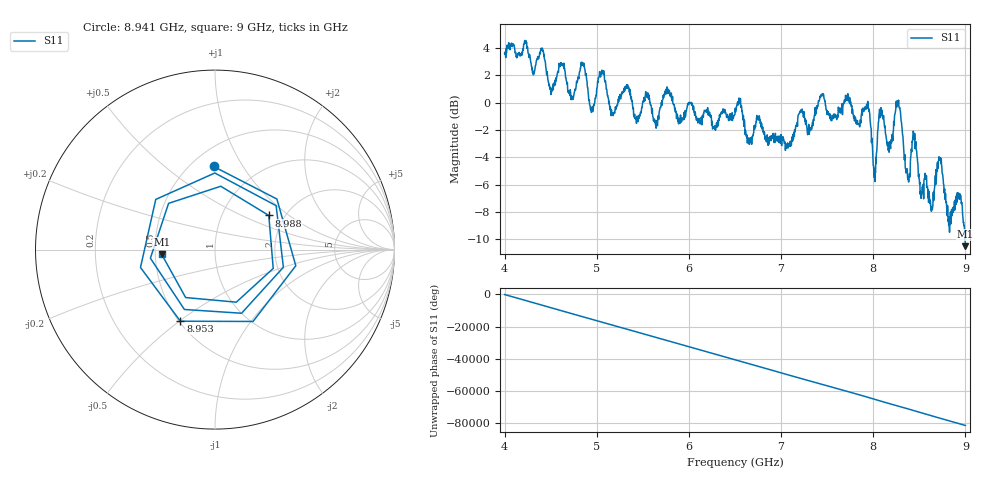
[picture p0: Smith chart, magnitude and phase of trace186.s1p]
! Created with skrf 1.8.0 (http://scikit-rf.org).
# Hz S RI R 50.0
!freq ReS11 ImS11
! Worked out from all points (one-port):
!   1601 points, 4 GHz to 9 GHz, reference 50 ohm
!   lowest |S11| = -10.5 dB at 9 GHz (marker M1), VSWR 1.85, Z = 27.1 - j1.58 ohm
!   |S11| at or under -10 dB: 8.993976 GHz to end of sweep
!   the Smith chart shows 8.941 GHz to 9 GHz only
!   S11 on the Smith chart (normalised r, x): 8.941 GHz: 0.64, +0.75; 8.953 GHz: 0.51, -0.50; 8.988 GHz: 1.66, +0.72; 9 GHz: 0.54, -0.03
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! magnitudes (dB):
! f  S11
! 4 GHz  3.6
! 4.403 GHz  4.0
! 4.503 GHz  0.6
! 4.625 GHz  2.7
! 4.731 GHz  0.4
! 4.85 GHz  2.7
! 4.947 GHz  -0.5
! 5.053 GHz  2.2
! 5.162 GHz  -0.8
! 5.25 GHz  0.5
! 5.875 GHz  -0.9
! 6.5 GHz  -0.8
! 7.125 GHz  -2.8
! 7.75 GHz  -0.1
! 7.938 GHz  0.0
! 8.016 GHz  -4.8
! 8.078 GHz  -0.7
! 8.175 GHz  -3.2
! 8.272 GHz  -0.1
! 8.375 GHz  -5.6
! 8.447 GHz  -2.7
! 8.622 GHz  -7.4
! 8.719 GHz  -4.2
! 8.822 GHz  -8.4
! 8.941 GHz  -6.7
! 8.953 GHz  -7.1
! 8.988 GHz  -9.0
! 9 GHz  -10.5
